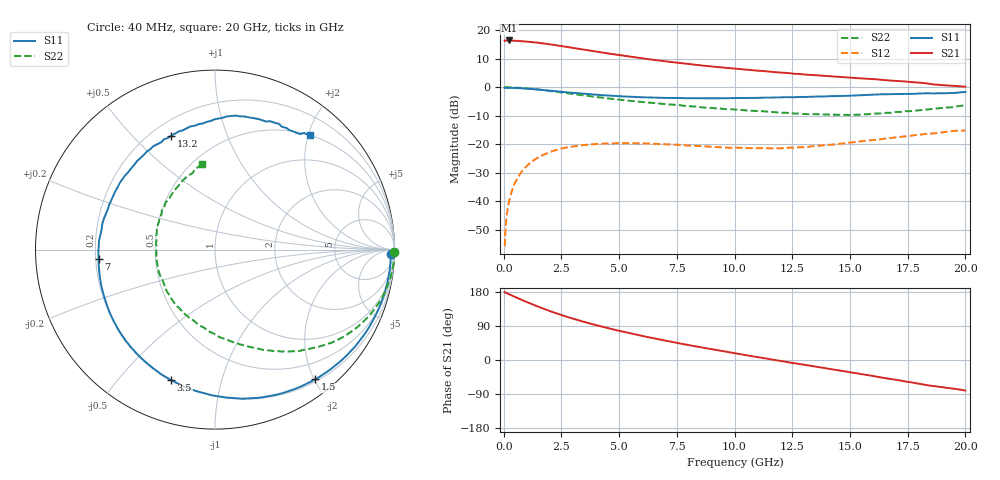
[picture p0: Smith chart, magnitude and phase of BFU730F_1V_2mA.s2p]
! Filename:  P:\Prog\Test\Noise\ATS_data\Testdata_Net\Split files Spar\BFU730_2W_B1_1V_1mA_30mA_Bias2_D.s2p
! Date/Time: Fri 29/Apr/2011 14:16:01
! BFU730_2W_B1_1V_1mA_30mA_Bias2_R.s2p
! MDIF S-parameter v. bias file
! BFU730_2W_B1_1V_1mA_30mA
! Date/time Thu Mar 17 14:34:31 2011
! VAR V_out= 1.0001
! VAR I_out= 1.9650
! VAR V_in= 0.7666
! VAR I_in= 0.0055
! Device data file deembeded for feedlines and parallel
! Original file: \Split files Spar\BFU730_2W_B1_1V_1mA_30mA_Bias2_R.s2p
! Feed-files: PR003V01_101208_Feed1.s2p, PR003V01_101208_Feed2.s2p
! Parallel-file: PR003V01_101208_Par.s2p
# MHz S MA R 50
!  Freq-MHz  S11-mag  S11-arg  S21-mag  S21-arg  S12-mag  S12-arg  S22-mag  S22-arg
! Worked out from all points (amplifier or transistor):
!   167 points, 40 MHz to 20 GHz, reference 50 ohm
!   highest |S21| = 16.4 dB at 240 MHz (marker M1)
!   |S21| within 3 dB of that: start of sweep to 3.294 GHz
!   unconditionally stable (mu >= 1): 8.729 GHz to 17.99 GHz; 18.52 GHz to 18.74 GHz
!   at 550 MHz: K = 0.03, MSG = 24.5 dB, |S12| = -32.6 dB
!   at 4.2 GHz: K = 0.37, MSG = 16.1 dB, |S12| = -19.8 dB
!   at 20 GHz: K = 0.83, MSG = 7.7 dB, |S12| = -15.2 dB
!   S11 on the Smith chart (normalised r, x): 40 MHz: 38, -49; 1.5 GHz: 0.23, -2.02; 3.5 GHz: 0.20, -0.70; 7 GHz: 0.21, -0.04; 13.2 GHz: 0.28, +0.65; 20 GHz: 0.50, +2.03
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40  0.9805 -1.4  6.62 179.3  0.001622 87.8  0.9992 -0.7
120  0.98 -4.3  6.611 176.7  0.005012 88.3  0.999 -2.2
240  0.9787 -8.6  6.645 173.3  0.01021 85.8  0.9976 -4.5
600  0.9676 -21.5  6.57 163.4  0.02558 77.3  0.9843 -11.2
850  0.9557 -30.3  6.441 156.8  0.03578 71.4  0.9702 -15.7
1500  0.9134 -52.3  6.05 140.7  0.05874 57.3  0.9142 -26.7
1900  0.883 -65.1  5.781 131.3  0.07012 49.6  0.8747 -32.7
2300  0.8507 -77.1  5.457 122.7  0.07972 42.6  0.8336 -38.3
2800  0.8125 -91.0  5.066 112.8  0.08877 34.3  0.7804 -44.4
3400  0.7731 -106.3  4.637 102.0  0.09603 25.9  0.7275 -51.0
3500  0.7675 -108.6  4.565 100.3  0.09692 24.6  0.7182 -52.1
4200  0.7304 -124.7  4.119 88.9  0.1019 16.3  0.6611 -58.8
4900  0.7015 -139.2  3.729 78.4  0.1042 9.1  0.6129 -65.1
5800  0.672 -155.9  3.303 66.1  0.1039 1.2  0.5608 -72.6
6800  0.6538 -172.4  2.924 53.6  0.1008 -5.5  0.5148 -80.8
7000  0.6511 -175.4  2.855 51.2  0.09983 -6.7  0.5066 -82.4
8200  0.6438 167.1  2.518 37.2  0.0947 -11.6  0.4605 -93.2
10200  0.6484 142.4  2.095 15.8  0.08687 -13.9  0.4 -112.8
13200  0.6799 111.0  1.656 -14.4  0.08991 -9.5  0.3377 -151.2
13400  0.6834 109.1  1.642 -16.3  0.0928 -9.2  0.3379 -154.6
16800  0.7594 77.6  1.308 -50.3  0.129 -14.1  0.3565 146.7
20000  0.8277 50.2  1.025 -80.7  0.1744 -32.2  0.4806 98.4
